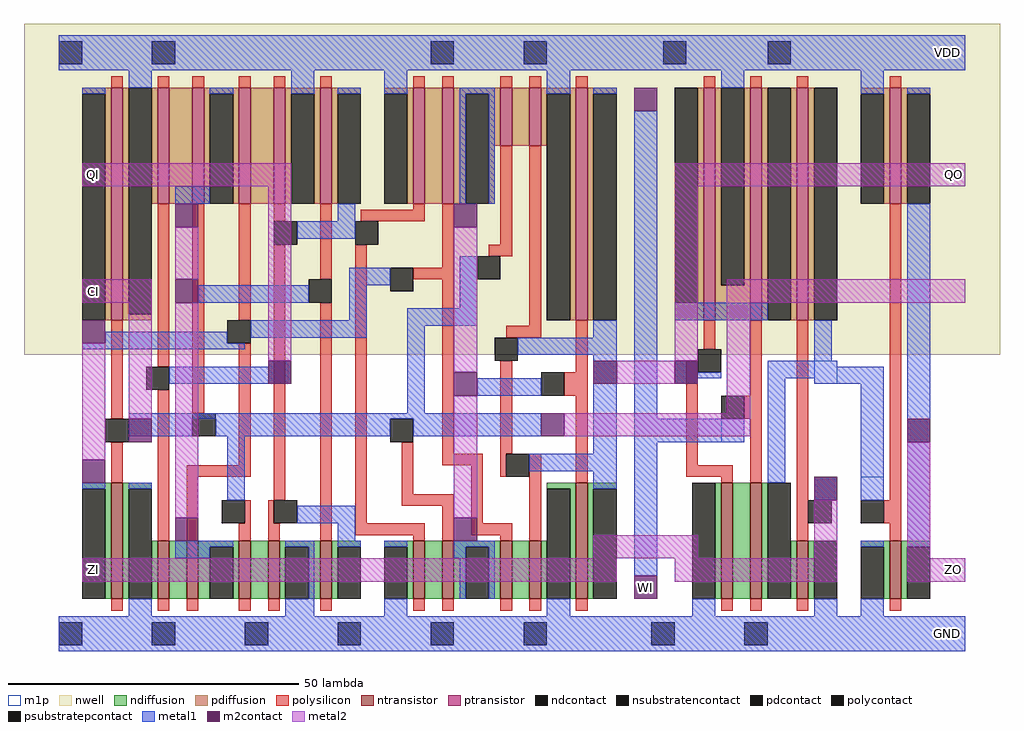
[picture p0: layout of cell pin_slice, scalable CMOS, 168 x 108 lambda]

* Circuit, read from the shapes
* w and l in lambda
.subckt pin_slice CI GND QI QO VDD WI ZI ZO
M1 GND CI n1 GND nfet w=20 l=2
M2 n2 QI GND GND nfet w=10 l=2
M3 n3 n1 n2 GND nfet w=10 l=2
M4 n4 CI n3 GND nfet w=10 l=2
M5 GND n5 n4 GND nfet w=10 l=2
M6 n5 n3 GND GND nfet w=10 l=2
M7 n6 n5 GND GND nfet w=10 l=2
M8 n7 CI n6 GND nfet w=10 l=2
M9 n8 n1 n7 GND nfet w=10 l=2
M10 GND QO n8 GND nfet w=10 l=2
M11 QO n7 GND GND nfet w=20 l=2
M12 n9 QO GND GND nfet w=20 l=2
M13 INVX1_0/A WI n9 GND nfet w=20 l=2
M14 GND ZI INVX1_0/A GND nfet w=10 l=2
M15 ZO INVX1_0/A GND GND nfet w=10 l=2
M16 VDD CI n1 VDD pfet w=40 l=2
M17 n10 QI VDD VDD pfet w=20 l=2
M18 n3 CI n10 VDD pfet w=20 l=2
M19 n11 n1 n3 VDD pfet w=20 l=2
M20 VDD n5 n11 VDD pfet w=20 l=2
M21 n5 n3 VDD VDD pfet w=20 l=2
M22 n12 n5 VDD VDD pfet w=20 l=2
M23 n7 n1 n12 VDD pfet w=20 l=2
M24 n13 CI n7 VDD pfet w=10 l=2
M25 VDD QO n13 VDD pfet w=10 l=2
M26 QO n7 VDD VDD pfet w=40 l=2
M27 VDD QO n14 VDD pfet w=40 l=2
M28 n14 WI VDD VDD pfet w=40 l=2
M29 INVX1_0/A ZI n14 VDD pfet w=40 l=2
M30 ZO INVX1_0/A VDD VDD pfet w=20 l=2
.ends

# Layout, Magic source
magic
tech scmos
<< metal1 >>
rect -94 -13 62 -7
rect -82 -73 -34 -72
rect -31 -76 -11 -72
rect 5 -73 9 -20
rect 36 -67 48 -64
rect 5 -77 20 -73
rect 5 -100 9 -77
rect 44 -87 48 -67
rect -94 -113 62 -107
<< m2contact >>
rect 5 -20 9 -16
rect -58 -67 -54 -63
rect -2 -67 2 -63
rect -82 -77 -78 -73
rect -11 -76 -7 -72
rect 12 -67 16 -63
rect 36 -87 40 -83
rect 52 -77 56 -73
rect 5 -104 9 -100
<< metal2 >>
rect -90 -33 -54 -29
rect -90 -53 -78 -49
rect -82 -73 -78 -53
rect -58 -63 -54 -33
rect 12 -33 62 -29
rect 12 -63 16 -33
rect 2 -67 12 -63
rect 21 -53 62 -49
rect 21 -72 25 -53
rect -7 -76 25 -72
rect -2 -97 16 -93
rect 36 -97 40 -87
rect -90 -101 2 -97
rect 12 -101 40 -97
rect 52 -97 56 -77
rect 52 -101 62 -97
use DFFPOSX1  DFFPOSX1_1
transform 1 0 -92 0 1 -110
box -8 -3 104 105
use AOI21X1  AOI21X1_0
transform 1 0 10 0 1 -110
box -7 -3 39 105
use INVX1  INVX1_0
transform 1 0 42 0 1 -110
box -9 -3 26 105
<< labels >>
rlabel metal1 56 -113 62 -107 0 GND
rlabel metal1 56 -13 62 -7 0 VDD
rlabel m2contact 5 -104 9 -100 0 WI
rlabel metal2 -90 -33 -86 -29 0 QI
rlabel metal2 -90 -53 -86 -49 0 CI
rlabel metal2 -90 -101 -86 -97 0 ZI
rlabel metal2 58 -101 62 -97 0 ZO
rlabel metal2 58 -33 62 -29 0 QO
<< end >>

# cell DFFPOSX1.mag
magic
tech scmos
<< nwell >>
rect -8 48 104 105
<< ntransistor >>
rect 7 6 9 26
rect 15 6 17 16
rect 20 6 22 16
rect 29 6 31 16
rect 34 6 36 16
rect 43 6 45 16
rect 59 6 61 16
rect 64 6 66 16
rect 74 6 76 16
rect 79 6 81 16
rect 87 6 89 26
<< ptransistor >>
rect 7 54 9 94
rect 15 74 17 94
rect 21 74 23 94
rect 29 74 31 94
rect 35 74 37 94
rect 43 74 45 94
rect 59 74 61 94
rect 64 74 66 94
rect 74 84 76 94
rect 79 84 81 94
rect 87 54 89 94
<< ndiffusion >>
rect 2 25 7 26
rect 6 6 7 25
rect 9 25 14 26
rect 9 6 10 25
rect 82 25 87 26
rect 14 6 15 16
rect 17 6 20 16
rect 22 15 29 16
rect 22 6 24 15
rect 28 6 29 15
rect 31 6 34 16
rect 36 15 43 16
rect 36 6 37 15
rect 41 6 43 15
rect 45 15 50 16
rect 45 6 46 15
rect 54 15 59 16
rect 58 6 59 15
rect 61 6 64 16
rect 66 15 74 16
rect 66 6 68 15
rect 72 6 74 15
rect 76 6 79 16
rect 81 6 82 16
rect 86 6 87 25
rect 89 25 94 26
rect 89 6 90 25
<< pdiffusion >>
rect 2 93 7 94
rect 6 54 7 93
rect 9 55 10 94
rect 14 74 15 94
rect 17 74 21 94
rect 23 93 29 94
rect 23 74 24 93
rect 28 74 29 93
rect 31 74 35 94
rect 37 93 43 94
rect 37 74 38 93
rect 42 74 43 93
rect 45 93 50 94
rect 45 74 46 93
rect 54 93 59 94
rect 58 74 59 93
rect 61 74 64 94
rect 66 93 74 94
rect 66 74 68 93
rect 72 84 74 93
rect 76 84 79 94
rect 81 93 87 94
rect 81 84 82 93
rect 72 74 73 84
rect 9 54 14 55
rect 86 54 87 93
rect 89 93 94 94
rect 89 54 90 93
<< ndcontact >>
rect 2 6 6 25
rect 10 6 14 25
rect 24 6 28 15
rect 37 6 41 15
rect 46 6 50 15
rect 54 6 58 15
rect 68 6 72 15
rect 82 6 86 25
rect 90 6 94 25
<< pdcontact >>
rect 2 54 6 93
rect 10 55 14 94
rect 24 74 28 93
rect 38 74 42 93
rect 46 74 50 93
rect 54 74 58 93
rect 68 74 72 93
rect 82 54 86 93
rect 90 54 94 93
<< psubstratepcontact >>
rect -2 -2 2 2
rect 14 -2 18 2
rect 30 -2 34 2
rect 46 -2 50 2
rect 62 -2 66 2
rect 78 -2 82 2
<< nsubstratencontact >>
rect -2 98 2 102
rect 14 98 18 102
rect 62 98 66 102
rect 78 98 82 102
<< polysilicon >>
rect 7 94 9 96
rect 15 94 17 96
rect 21 94 23 96
rect 29 94 31 96
rect 35 94 37 96
rect 43 94 45 96
rect 59 94 61 96
rect 64 94 66 96
rect 74 94 76 96
rect 79 94 81 96
rect 87 94 89 96
rect 7 37 9 54
rect 15 46 17 74
rect 7 26 9 33
rect 15 16 17 42
rect 21 38 23 74
rect 29 54 31 74
rect 29 29 31 50
rect 20 27 31 29
rect 35 71 37 74
rect 20 16 22 27
rect 35 23 37 67
rect 43 61 45 74
rect 59 73 61 74
rect 50 71 61 73
rect 30 19 31 23
rect 29 16 31 19
rect 34 19 35 23
rect 34 16 36 19
rect 43 16 45 57
rect 49 19 51 67
rect 64 63 66 74
rect 74 67 76 84
rect 72 65 76 67
rect 59 61 66 63
rect 57 24 59 33
rect 64 31 66 61
rect 79 53 81 84
rect 75 51 81 53
rect 74 31 76 47
rect 87 45 89 54
rect 85 41 89 45
rect 64 29 71 31
rect 57 22 66 24
rect 49 17 61 19
rect 59 16 61 17
rect 64 16 66 22
rect 69 19 71 29
rect 74 27 75 31
rect 69 17 76 19
rect 74 16 76 17
rect 79 16 81 31
rect 87 26 89 41
rect 7 4 9 6
rect 15 4 17 6
rect 20 4 22 6
rect 29 4 31 6
rect 34 4 36 6
rect 43 4 45 6
rect 59 4 61 6
rect 64 4 66 6
rect 74 4 76 6
rect 79 4 81 6
rect 87 4 89 6
<< polycontact >>
rect 13 42 17 46
rect 6 33 10 37
rect 27 50 31 54
rect 21 34 25 38
rect 35 67 39 71
rect 41 57 45 61
rect 26 19 30 23
rect 35 19 39 23
rect 49 67 53 71
rect 55 59 59 63
rect 70 61 74 65
rect 55 33 59 37
rect 73 47 77 51
rect 81 41 85 45
rect 75 27 79 31
<< metal1 >>
rect -2 102 98 103
rect 2 98 14 102
rect 18 98 62 102
rect 66 98 78 102
rect 82 98 98 102
rect -2 97 98 98
rect 10 94 14 97
rect 2 93 6 94
rect 24 93 28 94
rect 18 74 24 77
rect 38 93 42 97
rect 46 93 50 94
rect 54 93 58 97
rect 67 93 73 94
rect 67 74 68 93
rect 72 74 73 93
rect 82 93 86 97
rect 46 71 49 74
rect 39 68 49 71
rect 22 57 41 60
rect 48 60 55 63
rect 48 54 51 60
rect 67 56 70 65
rect 6 50 27 52
rect 31 51 51 54
rect 58 53 70 56
rect 90 93 94 94
rect 2 49 30 50
rect 34 46 38 47
rect 17 43 38 46
rect 10 34 21 37
rect 58 37 61 53
rect 90 51 94 54
rect 77 48 94 51
rect 70 41 81 44
rect 25 34 55 37
rect 2 25 6 26
rect 10 25 14 26
rect 27 23 30 34
rect 59 34 61 37
rect 90 31 94 48
rect 79 28 94 31
rect 90 25 94 28
rect 39 19 49 22
rect 46 16 49 19
rect 18 15 28 16
rect 18 13 24 15
rect 37 15 42 16
rect 41 6 42 15
rect 46 15 50 16
rect 54 15 58 16
rect 66 15 73 16
rect 66 13 68 15
rect 67 6 68 13
rect 72 6 73 15
rect 10 3 14 6
rect 37 3 42 6
rect 54 3 58 6
rect 82 3 86 6
rect -2 2 98 3
rect 2 -2 14 2
rect 18 -2 30 2
rect 34 -2 46 2
rect 50 -2 62 2
rect 66 -2 78 2
rect 82 -2 98 2
rect -2 -3 98 -2
<< m2contact >>
rect 18 70 22 74
rect 66 70 70 74
rect 18 57 22 61
rect 2 50 6 54
rect 66 41 70 45
rect 2 26 6 30
rect 18 16 22 20
rect 66 16 70 20
<< metal2 >>
rect 18 61 22 70
rect 2 30 6 50
rect 18 20 22 57
rect 66 45 70 70
rect 66 20 70 41
<< m1p >>
rect 34 43 38 47
rect 90 43 94 47
rect 10 33 14 37
<< labels >>
rlabel metal1 4 100 4 100 6 vdd
rlabel metal1 36 45 36 45 6 D
rlabel metal1 4 0 4 0 8 gnd
rlabel metal1 92 45 92 45 6 Q
rlabel metal1 12 35 12 35 1 CLK
<< end >>

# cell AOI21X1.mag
magic
tech scmos
<< nwell >>
rect -7 48 39 105
<< ntransistor >>
rect 10 6 12 26
rect 15 6 17 26
rect 23 6 25 16
<< ptransistor >>
rect 7 54 9 94
rect 15 54 17 94
rect 23 54 25 94
<< ndiffusion >>
rect 9 6 10 26
rect 12 6 15 26
rect 17 6 18 26
rect 22 6 23 16
rect 25 6 26 16
<< pdiffusion >>
rect 6 57 7 94
rect 2 54 7 57
rect 9 60 10 94
rect 14 60 15 94
rect 9 54 15 60
rect 17 54 18 94
rect 22 54 23 94
rect 25 54 26 94
<< ndcontact >>
rect 5 6 9 26
rect 18 6 22 26
rect 26 6 30 16
<< pdcontact >>
rect 2 57 6 94
rect 10 60 14 94
rect 18 54 22 94
rect 26 54 30 94
<< psubstratepcontact >>
rect -2 -2 2 2
rect 14 -2 18 2
<< nsubstratencontact >>
rect 0 98 4 102
rect 18 98 22 102
<< polysilicon >>
rect 7 94 9 96
rect 15 94 17 96
rect 23 94 25 96
rect 7 49 9 54
rect 4 29 6 47
rect 15 41 17 54
rect 14 37 17 41
rect 4 27 12 29
rect 10 26 12 27
rect 15 26 17 37
rect 23 16 25 54
rect 10 4 12 6
rect 15 4 17 6
rect 23 4 25 6
<< polycontact >>
rect 6 45 10 49
rect 10 37 14 41
rect 25 19 29 23
<< metal1 >>
rect -2 102 34 103
rect -2 98 0 102
rect 4 98 18 102
rect 22 98 34 102
rect -2 97 34 98
rect 10 94 14 97
rect 2 54 18 57
rect 2 45 6 47
rect 26 47 29 54
rect 2 44 10 45
rect 18 44 30 47
rect 2 43 6 44
rect 10 33 14 37
rect 18 26 21 44
rect 26 23 30 27
rect 5 3 9 6
rect 26 3 30 6
rect -2 2 34 3
rect 2 -2 14 2
rect 18 -2 34 2
rect -2 -3 34 -2
<< m1p >>
rect 2 43 6 47
rect 26 43 30 47
rect 10 33 14 37
rect 26 23 30 27
<< labels >>
rlabel metal1 4 0 4 0 1 gnd
rlabel metal1 4 100 4 100 5 vdd
rlabel metal1 4 45 4 45 1 A
rlabel metal1 12 35 12 35 1 B
rlabel metal1 28 45 28 45 1 Y
rlabel metal1 28 25 28 25 1 C
<< end >>

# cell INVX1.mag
magic
tech scmos
<< nwell >>
rect -9 48 26 105
<< ntransistor >>
rect 7 6 9 16
<< ptransistor >>
rect 7 74 9 94
<< ndiffusion >>
rect 2 15 7 16
rect 6 6 7 15
rect 9 15 14 16
rect 9 6 10 15
<< pdiffusion >>
rect 2 93 7 94
rect 6 74 7 93
rect 9 93 14 94
rect 9 74 10 93
<< ndcontact >>
rect 2 6 6 15
rect 10 6 14 15
<< pdcontact >>
rect 2 74 6 93
rect 10 74 14 93
<< polysilicon >>
rect 7 94 9 96
rect 7 23 9 74
rect 6 19 9 23
rect 7 16 9 19
rect 7 4 9 6
<< polycontact >>
rect 2 19 6 23
<< metal1 >>
rect -2 97 18 103
rect 2 93 6 97
rect 10 93 14 94
rect 2 23 6 27
rect 2 15 6 16
rect 10 15 14 74
rect 2 3 6 6
rect -2 -3 18 3
<< m1p >>
rect 10 33 14 37
rect 2 23 6 27
<< labels >>
rlabel metal1 4 25 4 25 6 A
rlabel metal1 12 35 12 35 6 Y
rlabel metal1 4 100 4 100 6 vdd
rlabel metal1 4 0 4 0 8 gnd
<< end >>
